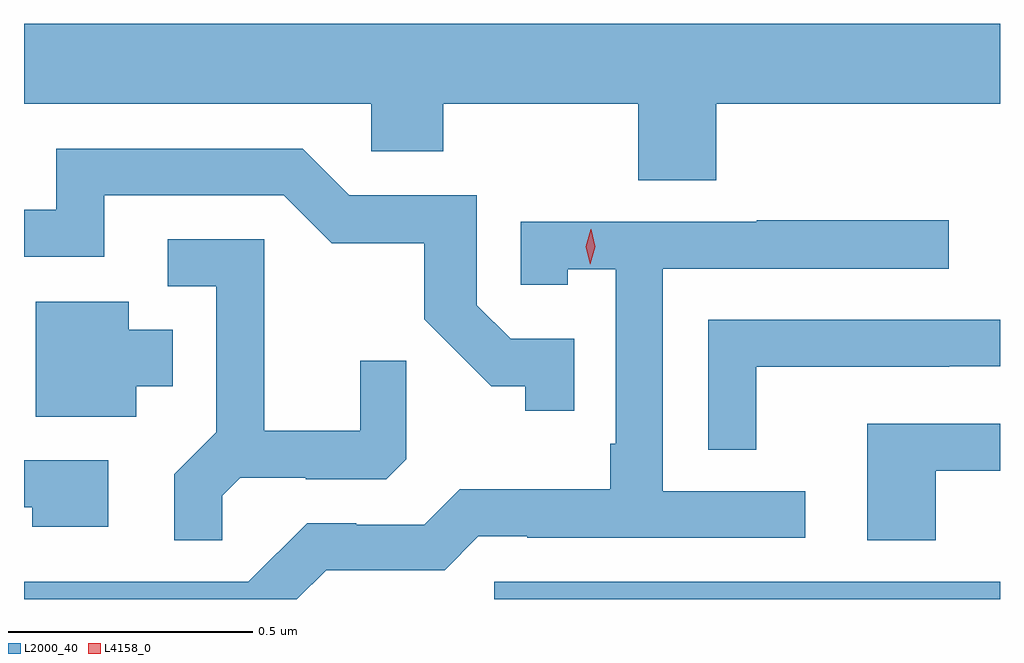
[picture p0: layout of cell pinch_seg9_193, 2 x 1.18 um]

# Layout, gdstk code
import gdstk
lib = gdstk.Library(unit=1e-6, precision=1e-09)
def R(c, l, rs):  # rectangles x0, y0, x1, y1
    for r in rs: c.add(gdstk.rectangle(r[:2], r[2:], *l))
def P(c, l, *ps):  # polygons
    for p in ps: c.add(gdstk.Polygon(p, *l))
L2000_40 = (2000, 40)
L4158_0 = (4158, 0)

pinch_seg9_193 = lib.new_cell('pinch_seg9_193')
R(pinch_seg9_193, L2000_40, [(634.455,1226.04,635.491,1226.076)])
P(pinch_seg9_193, L2000_40, [(633.491,1227.056),(634.203,1227.056),(634.203,1226.958),(634.35,1226.958),(634.35,1227.056),(634.75,1227.056),(634.75,1226.899),(634.91,1226.899),(634.91,1227.056),(635.491,1227.056),(635.491,1227.22),(633.491,1227.22)],
  [(634.619,1226.574),(634.488,1226.574),(634.419,1226.643),(634.419,1226.868),(634.158,1226.868),(634.062,1226.964),(633.557,1226.964),(633.557,1226.838),(633.491,1226.838),(633.491,1226.742),(633.655,1226.742),(633.655,1226.868),(634.023,1226.868),(634.122,1226.77),(634.311,1226.77),(634.311,1226.614),(634.448,1226.477),(634.518,1226.477),(634.518,1226.427),(634.619,1226.427)],
  [(634.11,1226.1),(634.353,1226.1),(634.422,1226.169),(634.522,1226.169),(634.522,1226.166),(635.092,1226.166),(635.092,1226.262),(634.8,1226.262),(634.8,1226.718),(635.386,1226.718),(635.386,1226.817),(634.993,1226.817),(634.993,1226.814),(634.509,1226.814),(634.509,1226.685),(634.605,1226.685),(634.605,1226.717),(634.704,1226.717),(634.704,1226.359),(634.692,1226.359),(634.692,1226.266),(634.384,1226.266),(634.311,1226.193),(634.172,1226.193),(634.172,1226.196),(634.071,1226.196),(633.951,1226.076),(633.491,1226.076),(633.491,1226.04),(634.05,1226.04)],
  [(633.897,1226.252),(633.934,1226.289),(634.068,1226.289),(634.068,1226.286),(634.233,1226.286),(634.274,1226.327),(634.274,1226.529),(634.18,1226.529),(634.18,1226.386),(633.983,1226.386),(633.983,1226.778),(633.786,1226.778),(633.786,1226.682),(633.885,1226.682),(633.885,1226.383),(633.799,1226.297),(633.799,1226.161),(633.897,1226.161)],
  [(633.721,1226.477),(633.796,1226.477),(633.796,1226.593),(633.706,1226.593),(633.706,1226.65),(633.515,1226.65),(633.515,1226.414),(633.721,1226.414)],
  [(634.992,1226.517),(635.387,1226.517),(635.387,1226.518),(635.491,1226.518),(635.491,1226.613),(634.893,1226.613),(634.893,1226.347),(634.992,1226.347)],
  [(635.359,1226.304),(635.491,1226.304),(635.491,1226.4),(635.219,1226.4),(635.219,1226.161),(635.359,1226.161)],
  [(633.664,1226.325),(633.491,1226.325),(633.491,1226.229),(633.508,1226.229),(633.508,1226.189),(633.664,1226.189)])
P(pinch_seg9_193, L4158_0, [(634.651,1226.727),(634.651,1226.727),(634.642,1226.763),(634.652,1226.799),(634.652,1226.799),(634.653,1226.799),(634.662,1226.763),(634.651,1226.727)])

lib.write_gds('pinch_seg9_193.gds')
